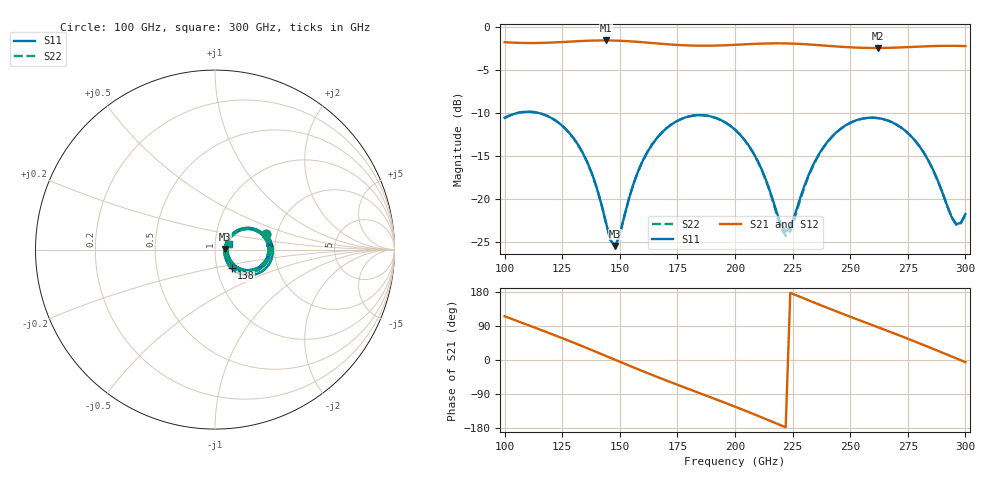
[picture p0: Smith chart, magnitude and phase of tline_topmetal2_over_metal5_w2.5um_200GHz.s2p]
#  GHZ S DB R 50
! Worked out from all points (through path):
!   101 points, 100 GHz to 300 GHz, reference 50 ohm
!   highest |S21| = -1.52 dB at 144 GHz (marker M1); lowest = -2.4 dB at 262 GHz (marker M2)
!   group delay of S21, straight-line fit = 6.69 ps
!   lowest |S11| = -25.5 dB at 148 GHz (marker M3), VSWR 1.11, Z = 55.6 + j0.192 ohm
!   |S11| at or under -10 dB: start of sweep to 105.2 GHz; 115 GHz to end of sweep
!   |S22| runs from -25.5 to -9.8 dB; largest |S21 - S12| = 9.3e-14
!   S11 on the Smith chart (normalised r, x): 100 GHz: 1.75, +0.33; 138 GHz: 1.17, -0.25; 300 GHz: 1.16, +0.07
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100  -10.55 16.8  -1.72 115.4  -1.72 115.4  -10.56 16.8
110  -9.83 -2.3  -1.82 92.5  -1.82 92.5  -9.83 -2.4
118  -10.26 -17.6  -1.79 74.1  -1.79 74.1  -10.26 -17.7
126  -11.71 -32.5  -1.69 55.3  -1.69 55.3  -11.71 -32.6
134  -14.68 -45.2  -1.58 35.7  -1.58 35.7  -14.68 -45.3
138  -17.12 -48.5  -1.54 25.8  -1.54 25.8  -17.12 -48.7
144  -22.79 -37.8  -1.52 10.6  -1.52 10.6  -22.79 -38.1
148  -25.50 1.9  -1.54 0.5  -1.54 0.5  -25.51 1.6
158  -16.74 42.2  -1.69 -24.6  -1.69 -24.6  -16.74 42.0
168  -12.33 29.3  -1.91 -48.9  -1.91 -48.9  -12.33 29.1
184  -10.23 0.5  -2.13 -86.0  -2.13 -86.0  -10.23 0.1
200  -11.92 -28.2  -2.03 -123.2  -2.03 -123.2  -11.93 -28.9
210  -15.65 -41.3  -1.90 -147.5  -1.90 -147.5  -15.69 -42.4
222  -23.81 -3.4  -1.86 -177.6  -1.86 -177.6  -24.30 -4.0
234  -15.99 38.5  -2.02 152.5  -2.02 152.5  -16.08 39.5
248  -11.42 19.6  -2.29 119.0  -2.29 119.0  -11.44 20.1
262  -10.57 -5.0  -2.39 86.6  -2.39 86.6  -10.58 -4.7
268  -11.04 -15.4  -2.37 72.7  -2.37 72.7  -11.04 -15.3
278  -13.14 -31.3  -2.26 49.0  -2.26 49.0  -13.15 -31.3
286  -16.62 -38.4  -2.17 29.4  -2.17 29.4  -16.63 -38.5
296  -22.94 -6.2  -2.15 4.4  -2.15 4.4  -23.01 -6.5
300  -21.77 22.3  -2.17 -5.6  -2.17 -5.6  -21.84 22.4
